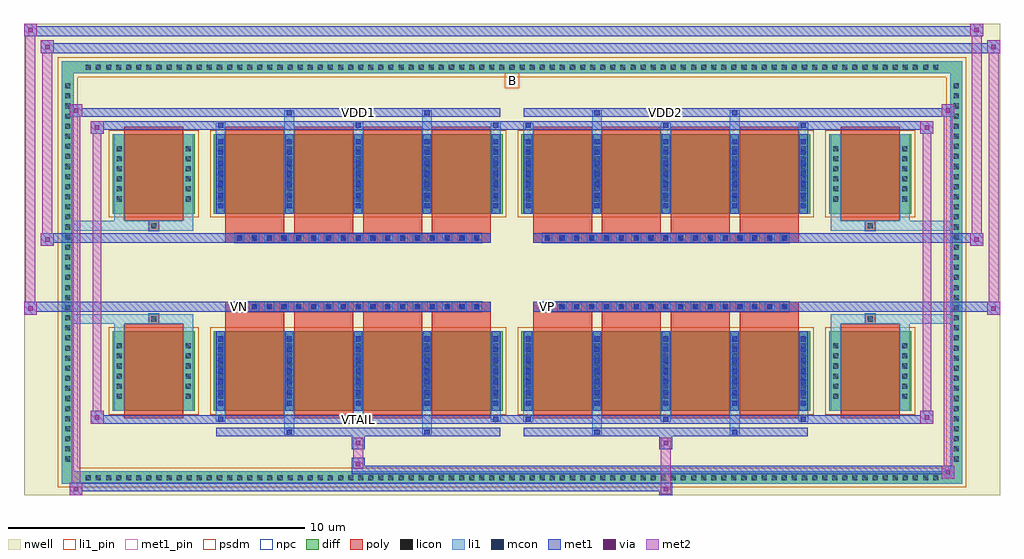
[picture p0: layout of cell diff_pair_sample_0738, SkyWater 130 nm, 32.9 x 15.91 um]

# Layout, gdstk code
import gdstk
lib = gdstk.Library(unit=1e-6, precision=5e-09)
def R(c, l, rs):  # rectangles x0, y0, x1, y1
    for r in rs: c.add(gdstk.rectangle(r[:2], r[2:], *l))
def A(c, l, x, y, w, h, nx, ny, dx, dy):  # array of equal rectangles
    R(c, l, [(x+i*dx, y+j*dy, x+i*dx+w, y+j*dy+h) for i in range(nx) for j in range(ny)])
def P(c, l, *ps):  # polygons
    for p in ps: c.add(gdstk.Polygon(p, *l))
nwell = (64, 20)
diff = (65, 20)
poly = (66, 20)
licon = (66, 44)
li1_pin = (67, 16)
li1 = (67, 20)
mcon = (67, 44)
met1_pin = (68, 16)
met1 = (68, 20)
via = (68, 44)
met2 = (69, 20)
psdm = (94, 20)
npc = (95, 20)

diff_pair_sample_0738 = lib.new_cell('diff_pair_sample_0738')
R(diff_pair_sample_0738, nwell, [(-16.45,-7.52,16.45,8.39), (-13.77,-5.71,-0.01,-0.795), (0.01,-5.71,13.77,-0.795), (-13.77,0.795,-0.01,5.71), (0.01,0.795,13.77,5.71)])
A(diff_pair_sample_0738, diff, -14.485, -7.12, 0.41, 0.41, 85, 2, 0.34, 13.83)
A(diff_pair_sample_0738, diff, -15.18, -6.495, 0.41, 0.41, 1, 38, 0, 0.34)
A(diff_pair_sample_0738, diff, 14.77, -6.495, 0.41, 0.41, 1, 38, 0, 0.34)
R(diff_pair_sample_0738, diff, [(-14.485,-7.12,14.485,-6.71), (-15.18,-6.495,-14.77,6.495), (14.77,-6.495,15.18,6.495), (-13.46,-4.665,-10.69,-1.985), (-10.05,-4.665,-0.32,-1.985), (0.32,-4.665,10.05,-1.985), (10.69,-4.665,13.46,-1.985), (-13.46,1.985,-10.69,4.665), (-10.05,1.985,-0.32,4.665), (0.32,1.985,10.05,4.665), (10.69,1.985,13.46,4.665), (-14.485,6.71,14.485,7.12)])
P(diff_pair_sample_0738, diff, [(15.18,7.12),(-15.18,7.12),(-15.18,-6.71),(-14.77,-6.71),(-14.77,6.71),(14.77,6.71),(14.77,-6.71),(-14.77,-6.71),(-15.18,-6.71),(-15.18,-7.12),(15.18,-7.12)])
A(diff_pair_sample_0738, poly, -9.66, -4.915, 1.99, 3.18, 4, 2, 2.32, 6.65)
A(diff_pair_sample_0738, poly, 0.71, -4.915, 1.99, 3.18, 4, 2, 2.32, 6.65)
A(diff_pair_sample_0738, poly, -9.66, -1.735, 1.99, 0.41, 4, 2, 2.32, 3.06)
A(diff_pair_sample_0738, poly, 0.71, -1.735, 1.99, 0.41, 4, 2, 2.32, 3.06)
A(diff_pair_sample_0738, poly, -9.35, -1.325, 0.33, 0.33, 17, 2, 0.5, 2.32)
A(diff_pair_sample_0738, poly, 1.02, -1.325, 0.33, 0.33, 17, 2, 0.5, 2.32)
R(diff_pair_sample_0738, poly, [(-13.07,-4.915,-11.08,-1.735), (11.08,-4.915,13.07,-1.735), (-12.24,-1.735,-11.91,-1.405), (-12.24,-1.735,-11.91,-1.405), (11.91,-1.735,12.24,-1.405), (11.91,-1.735,12.24,-1.405), (-9.66,-1.325,-0.71,-0.995), (0.71,-1.325,9.66,-0.995), (-9.66,0.995,-0.71,1.325), (0.71,0.995,9.66,1.325), (-12.24,1.405,-11.91,1.735), (-12.24,1.405,-11.91,1.735), (11.91,1.405,12.24,1.735), (11.91,1.405,12.24,1.735), (-13.07,1.735,-11.08,4.915), (11.08,1.735,13.07,4.915)])
A(diff_pair_sample_0738, licon, -14.365, -7, 0.17, 0.17, 85, 2, 0.34, 13.83)
A(diff_pair_sample_0738, licon, -15.06, -6.375, 0.17, 0.17, 1, 38, 0, 0.34)
A(diff_pair_sample_0738, licon, 14.89, -6.375, 0.17, 0.17, 1, 38, 0, 0.34)
A(diff_pair_sample_0738, licon, -13.32, -4.26, 0.17, 0.17, 1, 6, 0, 0.34)
A(diff_pair_sample_0738, licon, -11, -4.26, 0.17, 0.17, 1, 6, 0, 0.34)
A(diff_pair_sample_0738, licon, -9.91, -4.26, 0.17, 0.17, 5, 6, 2.32, 0.34)
A(diff_pair_sample_0738, licon, 0.46, -4.26, 0.17, 0.17, 5, 6, 2.32, 0.34)
A(diff_pair_sample_0738, licon, 10.83, -4.26, 0.17, 0.17, 1, 6, 0, 0.34)
A(diff_pair_sample_0738, licon, 13.15, -4.26, 0.17, 0.17, 1, 6, 0, 0.34)
A(diff_pair_sample_0738, licon, -9.27, -1.245, 0.17, 0.17, 17, 2, 0.5, 2.32)
A(diff_pair_sample_0738, licon, 1.1, -1.245, 0.17, 0.17, 17, 2, 0.5, 2.32)
A(diff_pair_sample_0738, licon, -13.32, 2.39, 0.17, 0.17, 1, 6, 0, 0.34)
A(diff_pair_sample_0738, licon, -11, 2.39, 0.17, 0.17, 1, 6, 0, 0.34)
A(diff_pair_sample_0738, licon, -9.91, 2.39, 0.17, 0.17, 5, 6, 2.32, 0.34)
A(diff_pair_sample_0738, licon, 0.46, 2.39, 0.17, 0.17, 5, 6, 2.32, 0.34)
A(diff_pair_sample_0738, licon, 10.83, 2.39, 0.17, 0.17, 1, 6, 0, 0.34)
A(diff_pair_sample_0738, licon, 13.15, 2.39, 0.17, 0.17, 1, 6, 0, 0.34)
R(diff_pair_sample_0738, licon, [(-12.16,-1.655,-11.99,-1.485), (11.99,-1.655,12.16,-1.485), (-12.16,1.485,-11.99,1.655), (11.99,1.485,12.16,1.655)])
R(diff_pair_sample_0738, li1_pin, [(-0.25,6.21,0.25,6.71)])
A(diff_pair_sample_0738, li1, -14.445, -7.08, 0.33, 0.33, 85, 2, 0.34, 13.83)
A(diff_pair_sample_0738, li1, -15.14, -6.455, 0.33, 0.33, 1, 38, 0, 0.34)
A(diff_pair_sample_0738, li1, 14.81, -6.455, 0.33, 0.33, 1, 38, 0, 0.34)
A(diff_pair_sample_0738, li1, -9.99, -5.04, 0.33, 0.375, 3, 2, 4.64, 9.705)
A(diff_pair_sample_0738, li1, -9.91, -5.04, 0.17, 0.17, 3, 2, 4.64, 9.91)
A(diff_pair_sample_0738, li1, 0.38, -5.04, 0.33, 0.375, 3, 2, 4.64, 9.705)
A(diff_pair_sample_0738, li1, 0.46, -5.04, 0.17, 0.17, 3, 2, 4.64, 9.91)
A(diff_pair_sample_0738, li1, -9.99, -4.665, 0.33, 2.68, 5, 2, 2.32, 6.65)
A(diff_pair_sample_0738, li1, 0.38, -4.665, 0.33, 2.68, 5, 2, 2.32, 6.65)
A(diff_pair_sample_0738, li1, -9.91, -4.49, 0.17, 0.17, 5, 7, 2.32, 0.36)
A(diff_pair_sample_0738, li1, -9.91, -4.49, 0.17, 2.33, 5, 2, 2.32, 6.65)
A(diff_pair_sample_0738, li1, 0.46, -4.49, 0.17, 0.17, 5, 7, 2.32, 0.36)
A(diff_pair_sample_0738, li1, 0.46, -4.49, 0.17, 2.33, 5, 2, 2.32, 6.65)
A(diff_pair_sample_0738, li1, -13.4, -4.34, 0.33, 0.33, 1, 6, 0, 0.34)
A(diff_pair_sample_0738, li1, -11.08, -4.34, 0.33, 0.33, 1, 6, 0, 0.34)
A(diff_pair_sample_0738, li1, -9.99, -4.34, 0.33, 0.33, 5, 6, 2.32, 0.34)
A(diff_pair_sample_0738, li1, 0.38, -4.34, 0.33, 0.33, 5, 6, 2.32, 0.34)
A(diff_pair_sample_0738, li1, 10.75, -4.34, 0.33, 0.33, 1, 6, 0, 0.34)
A(diff_pair_sample_0738, li1, 13.07, -4.34, 0.33, 0.33, 1, 6, 0, 0.34)
A(diff_pair_sample_0738, li1, -9.35, -1.325, 0.33, 0.33, 17, 2, 0.5, 2.32)
A(diff_pair_sample_0738, li1, 1.02, -1.325, 0.33, 0.33, 17, 2, 0.5, 2.32)
A(diff_pair_sample_0738, li1, -9.91, 2.16, 0.17, 0.17, 5, 7, 2.32, 0.36)
A(diff_pair_sample_0738, li1, 0.46, 2.16, 0.17, 0.17, 5, 7, 2.32, 0.36)
A(diff_pair_sample_0738, li1, -13.4, 2.31, 0.33, 0.33, 1, 6, 0, 0.34)
A(diff_pair_sample_0738, li1, -11.08, 2.31, 0.33, 0.33, 1, 6, 0, 0.34)
A(diff_pair_sample_0738, li1, -9.99, 2.31, 0.33, 0.33, 5, 6, 2.32, 0.34)
A(diff_pair_sample_0738, li1, 0.38, 2.31, 0.33, 0.33, 5, 6, 2.32, 0.34)
A(diff_pair_sample_0738, li1, 10.75, 2.31, 0.33, 0.33, 1, 6, 0, 0.34)
A(diff_pair_sample_0738, li1, 13.07, 2.31, 0.33, 0.33, 1, 6, 0, 0.34)
R(diff_pair_sample_0738, li1, [(-15.18,-7.12,-14.77,-6.71), (-15.18,-7.12,-14.77,-6.71), (-14.77,-7.12,14.77,-6.71), (14.77,-7.12,15.18,-6.71), (14.77,-7.12,15.18,-6.71), (-15.18,-6.71,-14.77,6.71), (14.77,-6.71,15.18,6.71), (-7.67,-5.47,-7.34,-4.665), (-7.59,-5.47,-7.42,-5.3), (-3.03,-5.47,-2.7,-4.665), (-2.95,-5.47,-2.78,-5.3), (2.7,-5.47,3.03,-4.665), (2.78,-5.47,2.95,-5.3), (7.34,-5.47,7.67,-4.665), (7.42,-5.47,7.59,-5.3), (-13.4,-4.665,-13.07,-1.985), (-11.08,-4.665,-10.75,-1.985), (10.75,-4.665,11.08,-1.985), (13.07,-4.665,13.4,-1.985), (-13.4,-1.985,-13.07,-1.405), (-11.08,-1.985,-10.75,-1.405), (10.75,-1.985,11.08,-1.405), (13.07,-1.985,13.4,-1.405), (-15.18,-1.735,-12.24,-1.405), (-13.4,-1.735,-12.24,-1.405), (-12.24,-1.735,-11.91,-1.405), (-11.91,-1.735,-10.75,-1.405), (10.75,-1.735,11.91,-1.405), (11.91,-1.735,12.24,-1.405), (11.91,-1.735,15.18,-1.405), (12.24,-1.735,13.4,-1.405), (-15.18,1.405,-12.24,1.735), (-13.4,1.405,-12.24,1.735), (-13.4,1.405,-13.07,1.985), (-12.24,1.405,-11.91,1.735), (-11.91,1.405,-10.75,1.735), (-11.08,1.405,-10.75,1.985), (10.75,1.405,11.91,1.735), (10.75,1.405,11.08,1.985), (11.91,1.405,12.24,1.735), (11.91,1.405,15.18,1.735), (12.24,1.405,13.4,1.735), (13.07,1.405,13.4,1.985), (-13.4,1.985,-13.07,4.665), (-11.08,1.985,-10.75,4.665), (10.75,1.985,11.08,4.665), (13.07,1.985,13.4,4.665), (-7.67,4.665,-7.34,5.47), (-3.03,4.665,-2.7,5.47), (2.7,4.665,3.03,5.47), (7.34,4.665,7.67,5.47), (-7.59,5.3,-7.42,5.47), (-2.95,5.3,-2.78,5.47), (2.78,5.3,2.95,5.47), (7.42,5.3,7.59,5.47), (-15.18,6.71,-14.77,7.12), (-15.18,6.71,-14.77,7.12), (-14.77,6.71,14.77,7.12), (14.77,6.71,15.18,7.12), (14.77,6.71,15.18,7.12)])
A(diff_pair_sample_0738, mcon, -9.91, -5.04, 0.17, 0.17, 3, 2, 4.64, 9.91)
A(diff_pair_sample_0738, mcon, 0.46, -5.04, 0.17, 0.17, 3, 2, 4.64, 9.91)
A(diff_pair_sample_0738, mcon, -9.91, -4.49, 0.17, 0.17, 5, 7, 2.32, 0.36)
A(diff_pair_sample_0738, mcon, 0.46, -4.49, 0.17, 0.17, 5, 7, 2.32, 0.36)
A(diff_pair_sample_0738, mcon, -9.27, -1.245, 0.17, 0.17, 17, 2, 0.5, 2.32)
A(diff_pair_sample_0738, mcon, 1.1, -1.245, 0.17, 0.17, 17, 2, 0.5, 2.32)
A(diff_pair_sample_0738, mcon, -9.91, 2.16, 0.17, 0.17, 5, 7, 2.32, 0.36)
A(diff_pair_sample_0738, mcon, 0.46, 2.16, 0.17, 0.17, 5, 7, 2.32, 0.36)
R(diff_pair_sample_0738, mcon, [(-7.59,-5.47,-7.42,-5.3), (-2.95,-5.47,-2.78,-5.3), (2.78,-5.47,2.95,-5.3), (7.42,-5.47,7.59,-5.3), (-7.59,5.3,-7.42,5.47), (-2.95,5.3,-2.78,5.47), (2.78,5.3,2.95,5.47), (7.42,5.3,7.59,5.47)])
R(diff_pair_sample_0738, met1_pin, [(-5.32,-5.08,-5.05,-4.81), (-9.32,-1.285,-9.05,-1.015), (1.05,-1.285,1.32,-1.015), (-5.32,5.26,-5.05,5.53), (5.05,5.26,5.32,5.53)])
A(diff_pair_sample_0738, met1, -9.97, -5.1, 0.29, 0.29, 3, 2, 4.64, 9.91)
A(diff_pair_sample_0738, met1, 0.4, -5.1, 0.29, 0.29, 3, 2, 4.64, 9.91)
A(diff_pair_sample_0738, met1, -9.97, -4.665, 0.29, 2.68, 5, 2, 2.32, 6.65)
A(diff_pair_sample_0738, met1, 0.4, -4.665, 0.29, 2.68, 5, 2, 2.32, 6.65)
A(diff_pair_sample_0738, met1, -9.97, -4.55, 0.29, 0.29, 5, 7, 2.32, 0.36)
A(diff_pair_sample_0738, met1, 0.4, -4.55, 0.29, 0.29, 5, 7, 2.32, 0.36)
A(diff_pair_sample_0738, met1, -9.33, -1.305, 0.29, 0.29, 17, 2, 0.5, 2.32)
A(diff_pair_sample_0738, met1, 1.04, -1.305, 0.29, 0.29, 17, 2, 0.5, 2.32)
A(diff_pair_sample_0738, met1, -9.97, 2.1, 0.29, 0.29, 5, 7, 2.32, 0.36)
A(diff_pair_sample_0738, met1, 0.4, 2.1, 0.29, 0.29, 5, 7, 2.32, 0.36)
R(diff_pair_sample_0738, met1, [(-14.91,-7.52,-14.48,-7.09), (4.97,-7.52,5.4,-7.09), (-14.91,-7.38,5.4,-7.09), (14.48,-6.95,14.91,-6.52), (-5.4,-6.81,14.91,-6.52), (-5.4,-6.67,-4.97,-6.24), (-5.4,-5.96,-4.97,-5.53), (4.97,-5.96,5.4,-5.53), (-9.97,-5.53,-0.4,-5.24), (-7.65,-5.53,-7.36,-5.24), (-3.01,-5.53,-2.72,-5.24), (0.4,-5.53,9.97,-5.24), (2.72,-5.53,3.01,-5.24), (7.36,-5.53,7.65,-5.24), (-14.2,-5.1,-13.77,-4.67), (-14.2,-5.1,-9.97,-4.81), (-9.97,-5.1,-0.4,-4.81), (-0.4,-5.1,0.4,-4.81), (0.4,-5.1,9.97,-4.81), (9.97,-5.1,14.2,-4.81), (13.77,-5.1,14.2,-4.67), (-16.45,-1.425,-16.02,-0.995), (16.02,-1.425,16.45,-0.995), (-16.45,-1.325,-0.71,-0.995), (-9.66,-1.325,-0.71,-0.995), (0.71,-1.325,9.66,-0.995), (0.71,-1.325,16.45,-0.995), (-15.88,0.895,-15.45,1.325), (15.45,0.895,15.88,1.325), (-15.88,0.995,-9.66,1.325), (-9.66,0.995,-0.71,1.325), (0.71,0.995,9.66,1.325), (9.66,0.995,15.88,1.325), (-14.2,4.67,-13.77,5.1), (13.77,4.67,14.2,5.1), (-14.2,4.81,-9.97,5.1), (-9.97,4.81,-0.4,5.1), (-0.4,4.81,0.4,5.1), (0.4,4.81,9.97,5.1), (9.97,4.81,14.2,5.1), (-14.91,5.24,-14.48,5.67), (-14.91,5.24,-9.97,5.53), (-9.97,5.24,-0.4,5.53), (-7.65,5.24,-7.36,5.53), (-3.01,5.24,-2.72,5.53), (0.4,5.24,9.97,5.53), (2.72,5.24,3.01,5.53), (7.36,5.24,7.65,5.53), (9.97,5.24,14.91,5.53), (14.48,5.24,14.91,5.67), (-15.88,7.39,-15.45,7.82), (-15.88,7.39,-13.77,7.72), (-13.77,7.39,13.77,7.72), (13.77,7.39,16.45,7.72), (16.02,7.39,16.45,7.82), (-16.45,7.96,-16.02,8.39), (-16.45,7.96,-13.77,8.29), (-13.77,7.96,13.77,8.29), (13.77,7.96,15.88,8.29), (15.45,7.96,15.88,8.39)])
R(diff_pair_sample_0738, via, [(-14.77,-7.38,-14.62,-7.23), (5.11,-7.38,5.26,-7.23), (14.62,-6.81,14.77,-6.66), (-5.26,-6.53,-5.11,-6.38), (-5.26,-5.82,-5.11,-5.67), (5.11,-5.82,5.26,-5.67), (-14.06,-4.96,-13.91,-4.81), (13.91,-4.96,14.06,-4.81), (-16.31,-1.285,-16.16,-1.135), (16.16,-1.285,16.31,-1.135), (-15.74,1.035,-15.59,1.185), (15.59,1.035,15.74,1.185), (-14.06,4.81,-13.91,4.96), (13.91,4.81,14.06,4.96), (-14.77,5.38,-14.62,5.53), (14.62,5.38,14.77,5.53), (-15.74,7.53,-15.59,7.68), (16.16,7.53,16.31,7.68), (-16.31,8.1,-16.16,8.25), (15.59,8.1,15.74,8.25)])
R(diff_pair_sample_0738, met2, [(-14.91,-7.52,-14.48,-7.09), (-14.84,-7.52,-14.55,5.67), (-14.55,-7.52,-14.48,-7.09), (-14.86,-7.47,-14.53,-7.14), (5.02,-7.47,5.35,-7.14), (5.02,-7.14,5.35,-5.91), (14.48,-6.95,14.91,-6.52), (14.55,-6.95,14.84,5.67), (14.84,-6.95,14.91,-6.52), (14.53,-6.9,14.86,-6.57), (-5.35,-6.62,-5.02,-6.29), (-5.35,-6.29,-5.02,-5.91), (-5.35,-5.91,-5.02,-5.58), (5.02,-5.91,5.35,-5.58), (-14.2,-5.1,-13.77,-4.67), (-14.13,-5.1,-13.84,5.1), (-13.84,-5.1,-13.77,-4.67), (13.77,-5.1,14.2,-4.67), (13.84,-5.1,14.13,5.1), (14.13,-5.1,14.2,-4.67), (-14.15,-5.05,-13.82,-4.72), (13.82,-5.05,14.15,-4.72), (-16.45,-1.425,-16.02,-0.995), (-16.4,-1.425,-16.07,8.39), (-16.07,-1.425,-16.02,-0.995), (16.02,-1.425,16.45,-0.995), (16.07,-1.425,16.4,7.82), (16.4,-1.425,16.45,-0.995), (-16.4,-1.375,-16.07,-1.045), (16.07,-1.375,16.4,-1.045), (-15.88,0.895,-15.45,1.325), (-15.83,0.895,-15.5,7.82), (-15.5,0.895,-15.45,1.325), (15.45,0.895,15.88,1.325), (15.5,0.895,15.83,8.39), (15.83,0.895,15.88,1.325), (-15.83,0.945,-15.5,1.275), (15.5,0.945,15.83,1.275), (-14.2,4.67,-13.77,5.1), (-13.84,4.67,-13.77,5.1), (13.77,4.67,14.2,5.1), (14.13,4.67,14.2,5.1), (-14.15,4.72,-13.82,5.05), (13.82,4.72,14.15,5.05), (-14.91,5.24,-14.48,5.67), (-14.55,5.24,-14.48,5.67), (14.48,5.24,14.91,5.67), (14.84,5.24,14.91,5.67), (-14.86,5.29,-14.53,5.62), (14.53,5.29,14.86,5.62), (-15.88,7.39,-15.45,7.82), (-15.5,7.39,-15.45,7.82), (16.02,7.39,16.45,7.82), (16.4,7.39,16.45,7.82), (-15.83,7.44,-15.5,7.77), (16.07,7.44,16.4,7.77), (-16.45,7.96,-16.02,8.39), (-16.07,7.96,-16.02,8.39), (15.45,7.96,15.88,8.39), (15.83,7.96,15.88,8.39), (-16.4,8.01,-16.07,8.34), (15.5,8.01,15.83,8.34)])
R(diff_pair_sample_0738, psdm, [(-13.59,-4.795,-10.56,-1.855), (-10.18,-4.795,-0.19,-1.855), (0.19,-4.795,10.18,-1.855), (10.56,-4.795,13.59,-1.855), (-13.59,1.855,-10.56,4.795), (-10.18,1.855,-0.19,4.795), (0.19,1.855,10.18,4.795), (10.56,1.855,13.59,4.795)])
P(diff_pair_sample_0738, psdm, [(15.31,7.25),(-15.31,7.25),(-15.31,-6.58),(-14.64,-6.58),(-14.64,6.58),(14.64,6.58),(14.64,-6.58),(-14.64,-6.58),(-15.31,-6.58),(-15.31,-7.25),(15.31,-7.25)])
A(diff_pair_sample_0738, npc, -9.37, -1.345, 0.37, 0.37, 17, 2, 0.5, 2.32)
A(diff_pair_sample_0738, npc, 1, -1.345, 0.37, 0.37, 17, 2, 0.5, 2.32)
R(diff_pair_sample_0738, npc, [(-12.26,-1.755,-11.89,-1.385), (11.89,-1.755,12.26,-1.385), (-9.37,-1.345,-8.5,-0.975), (-9.37,-1.345,-8.5,-0.975), (-8.87,-1.345,-8,-0.975), (-8.87,-1.345,-8,-0.975), (-8.37,-1.345,-7.5,-0.975), (-8.37,-1.345,-7.5,-0.975), (-7.87,-1.345,-7,-0.975), (-7.87,-1.345,-7,-0.975), (-7.37,-1.345,-6.5,-0.975), (-7.37,-1.345,-6.5,-0.975), (-6.87,-1.345,-6,-0.975), (-6.87,-1.345,-6,-0.975), (-6.37,-1.345,-5.5,-0.975), (-6.37,-1.345,-5.5,-0.975), (-5.87,-1.345,-5,-0.975), (-5.87,-1.345,-5,-0.975), (-5.37,-1.345,-4.5,-0.975), (-5.37,-1.345,-4.5,-0.975), (-4.87,-1.345,-4,-0.975), (-4.87,-1.345,-4,-0.975), (-4.37,-1.345,-3.5,-0.975), (-4.37,-1.345,-3.5,-0.975), (-3.87,-1.345,-3,-0.975), (-3.87,-1.345,-3,-0.975), (-3.37,-1.345,-2.5,-0.975), (-3.37,-1.345,-2.5,-0.975), (-2.87,-1.345,-2,-0.975), (-2.87,-1.345,-2,-0.975), (-2.37,-1.345,-1.5,-0.975), (-2.37,-1.345,-1.5,-0.975), (-1.87,-1.345,-1,-0.975), (-1.87,-1.345,-1,-0.975), (1,-1.345,1.87,-0.975), (1,-1.345,1.87,-0.975), (1.5,-1.345,2.37,-0.975), (1.5,-1.345,2.37,-0.975), (2,-1.345,2.87,-0.975), (2,-1.345,2.87,-0.975), (2.5,-1.345,3.37,-0.975), (2.5,-1.345,3.37,-0.975), (3,-1.345,3.87,-0.975), (3,-1.345,3.87,-0.975), (3.5,-1.345,4.37,-0.975), (3.5,-1.345,4.37,-0.975), (4,-1.345,4.87,-0.975), (4,-1.345,4.87,-0.975), (4.5,-1.345,5.37,-0.975), (4.5,-1.345,5.37,-0.975), (5,-1.345,5.87,-0.975), (5,-1.345,5.87,-0.975), (5.5,-1.345,6.37,-0.975), (5.5,-1.345,6.37,-0.975), (6,-1.345,6.87,-0.975), (6,-1.345,6.87,-0.975), (6.5,-1.345,7.37,-0.975), (6.5,-1.345,7.37,-0.975), (7,-1.345,7.87,-0.975), (7,-1.345,7.87,-0.975), (7.5,-1.345,8.37,-0.975), (7.5,-1.345,8.37,-0.975), (8,-1.345,8.87,-0.975), (8,-1.345,8.87,-0.975), (8.5,-1.345,9.37,-0.975), (8.5,-1.345,9.37,-0.975), (-9.37,0.975,-8.5,1.345), (-9.37,0.975,-8.5,1.345), (-8.87,0.975,-8,1.345), (-8.87,0.975,-8,1.345), (-8.37,0.975,-7.5,1.345), (-8.37,0.975,-7.5,1.345), (-7.87,0.975,-7,1.345), (-7.87,0.975,-7,1.345), (-7.37,0.975,-6.5,1.345), (-7.37,0.975,-6.5,1.345), (-6.87,0.975,-6,1.345), (-6.87,0.975,-6,1.345), (-6.37,0.975,-5.5,1.345), (-6.37,0.975,-5.5,1.345), (-5.87,0.975,-5,1.345), (-5.87,0.975,-5,1.345), (-5.37,0.975,-4.5,1.345), (-5.37,0.975,-4.5,1.345), (-4.87,0.975,-4,1.345), (-4.87,0.975,-4,1.345), (-4.37,0.975,-3.5,1.345), (-4.37,0.975,-3.5,1.345), (-3.87,0.975,-3,1.345), (-3.87,0.975,-3,1.345), (-3.37,0.975,-2.5,1.345), (-3.37,0.975,-2.5,1.345), (-2.87,0.975,-2,1.345), (-2.87,0.975,-2,1.345), (-2.37,0.975,-1.5,1.345), (-2.37,0.975,-1.5,1.345), (-1.87,0.975,-1,1.345), (-1.87,0.975,-1,1.345), (1,0.975,1.87,1.345), (1,0.975,1.87,1.345), (1.5,0.975,2.37,1.345), (1.5,0.975,2.37,1.345), (2,0.975,2.87,1.345), (2,0.975,2.87,1.345), (2.5,0.975,3.37,1.345), (2.5,0.975,3.37,1.345), (3,0.975,3.87,1.345), (3,0.975,3.87,1.345), (3.5,0.975,4.37,1.345), (3.5,0.975,4.37,1.345), (4,0.975,4.87,1.345), (4,0.975,4.87,1.345), (4.5,0.975,5.37,1.345), (4.5,0.975,5.37,1.345), (5,0.975,5.87,1.345), (5,0.975,5.87,1.345), (5.5,0.975,6.37,1.345), (5.5,0.975,6.37,1.345), (6,0.975,6.87,1.345), (6,0.975,6.87,1.345), (6.5,0.975,7.37,1.345), (6.5,0.975,7.37,1.345), (7,0.975,7.87,1.345), (7,0.975,7.87,1.345), (7.5,0.975,8.37,1.345), (7.5,0.975,8.37,1.345), (8,0.975,8.87,1.345), (8,0.975,8.87,1.345), (8.5,0.975,9.37,1.345), (8.5,0.975,9.37,1.345), (-12.26,1.385,-11.89,1.755), (11.89,1.385,12.26,1.755)])
diff_pair_sample_0738.add(gdstk.Label('VTAIL', (-5.185,-4.945), layer=68, texttype=5))
diff_pair_sample_0738.add(gdstk.Label('VN', (-9.185,-1.15), layer=68, texttype=5))
diff_pair_sample_0738.add(gdstk.Label('VP', (1.185,-1.15), layer=68, texttype=5))
diff_pair_sample_0738.add(gdstk.Label('B', (0,6.46), layer=67, texttype=5))
diff_pair_sample_0738.add(gdstk.Label('VDD2', (5.185,5.395), layer=68, texttype=5))
diff_pair_sample_0738.add(gdstk.Label('VDD1', (-5.185,5.395), layer=68, texttype=5))

lib.write_gds('diff_pair_sample_0738.gds')
